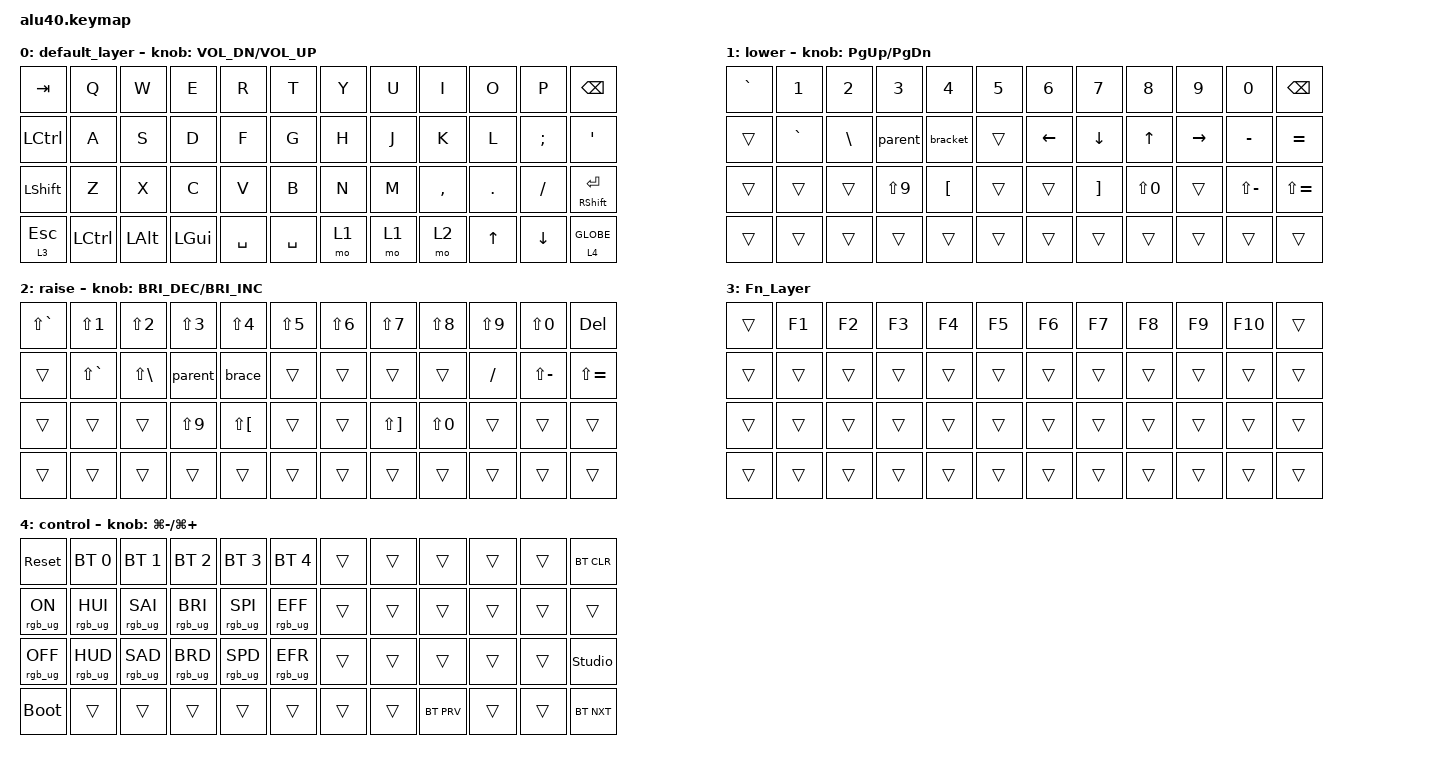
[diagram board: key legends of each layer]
/*
 * Copyright (c) 2022 The ZMK Contributors
 *
 * SPDX-License-Identifier: MIT
 */

#include <behaviors.dtsi>
#include <dt-bindings/zmk/bt.h>
#include <dt-bindings/zmk/keys.h>
#include <dt-bindings/zmk/rgb.h>

/ {
    macros {
        brace: brace {
            compatible = "zmk,behavior-macro";
            #binding-cells = <0>;
            bindings = <&kp LS(LEFT_BRACKET) &kp LS(RIGHT_BRACKET) &kp LEFT_ARROW>;
            label = "BRACE";
        };

        bracket: bracket {
            compatible = "zmk,behavior-macro";
            #binding-cells = <0>;
            bindings = <&kp LEFT_BRACKET &kp RIGHT_BRACKET &kp LEFT_ARROW>;
            label = "BRACKET";
        };

        parent: parent {
            compatible = "zmk,behavior-macro";
            #binding-cells = <0>;
            bindings = <&kp LS(N9) &kp LS(N0) &kp LEFT_ARROW>;
            label = "PARENT";
        };
    };

    keymap {
        compatible = "zmk,keymap";

        default_layer {
            // -----------------------------------------------------------------------------------------
            // | ESC/~ |  Q   |  W   |  E   |  R   |  T   |   Y   |  U    |  I   |  O   |   P   | BSPC  |
            // | TAB   |  A   |  S   |  D   |  F   |  G   |   H   |  J    |  K   |  L   |   ;   |  '    |
            // | SHIFT |  Z   |  X   |  C   |  V   |  B   |   N   |  M    |  ,   |  .   |   /   |RET/SFT|
            // | PLAY  | LCTL | LALT | LGUI | LOWR |     SPACE    |  RAIS | LARW | UARW | DARW  |  RARW |

            bindings = <
&kp TAB       &kp Q      &kp W     &kp E     &kp R      &kp T      &kp Y  &kp U  &kp I      &kp O    &kp P     &kp BSPC
&kp LCTRL     &kp A      &kp S     &kp D     &kp F      &kp G      &kp H  &kp J  &kp K      &kp L    &kp SEMI  &kp SQT
&kp LSHFT     &kp Z      &kp X     &kp C     &kp V      &kp B      &kp N  &kp M  &kp COMMA  &kp DOT  &kp FSLH  &mt RSHFT RET
&lt 3 ESCAPE  &kp LCTRL  &kp LALT  &kp LGUI  &kp SPACE  &kp SPACE  &mo 1  &mo 1  &mo 2      &kp UP   &kp DOWN  &lt 4 GLOBE
            >;

            sensor-bindings = <&inc_dec_kp C_VOL_DN C_VOL_UP>;
        };

        lower {
            bindings = <
&kp GRAVE  &kp N1     &kp N2         &kp N3      &kp N4            &kp N5  &kp N6    &kp N7             &kp N8      &kp N9     &kp N0         &kp BSPC
&trans     &kp GRAVE  &kp BACKSLASH  &parent     &bracket          &trans  &kp LEFT  &kp DOWN           &kp UP      &kp RIGHT  &kp MINUS      &kp EQUAL
&trans     &trans     &trans         &kp LS(N9)  &kp LEFT_BRACKET  &trans  &trans    &kp RIGHT_BRACKET  &kp LS(N0)  &trans     &kp LS(MINUS)  &kp LS(EQUAL)
&trans     &trans     &trans         &trans      &trans            &trans  &trans    &trans             &trans      &trans     &trans         &trans
            >;

            sensor-bindings = <&inc_dec_kp PG_UP PG_DN>;
        };

        raise {
            bindings = <
&kp LS(GRAVE)  &kp LS(N1)     &kp LS(N2)         &kp LS(N3)  &kp LS(N4)            &kp LS(N5)  &kp LS(N6)  &kp LS(N7)             &kp LS(N8)  &kp LS(N9)  &kp LS(N0)     &kp DEL
&trans         &kp LS(GRAVE)  &kp LS(BACKSLASH)  &parent     &brace                &trans      &trans      &trans                 &trans      &kp SLASH   &kp LS(MINUS)  &kp LS(EQUAL)
&trans         &trans         &trans             &kp LS(N9)  &kp LS(LEFT_BRACKET)  &trans      &trans      &kp LS(RIGHT_BRACKET)  &kp LS(N0)  &trans      &trans         &trans
&trans         &trans         &trans             &trans      &trans                &trans      &trans      &trans                 &trans      &trans      &trans         &trans
            >;

            sensor-bindings = <&inc_dec_kp C_BRI_DEC C_BRI_INC>;
        };

        Fn_Layer {
            bindings = <
&trans  &kp F1  &kp F2  &kp F3  &kp F4  &kp F5  &kp F6  &kp F7  &kp F8  &kp F9  &kp F10  &trans
&trans  &trans  &trans  &trans  &trans  &trans  &trans  &trans  &trans  &trans  &trans   &trans
&trans  &trans  &trans  &trans  &trans  &trans  &trans  &trans  &trans  &trans  &trans   &trans
&trans  &trans  &trans  &trans  &trans  &trans  &trans  &trans  &trans  &trans  &trans   &trans
            >;
        };

        control {
            bindings = <
&sys_reset       &bt BT_SEL 0     &bt BT_SEL 1     &bt BT_SEL 2     &bt BT_SEL 3     &bt BT_SEL 4     &trans  &trans  &trans      &trans  &trans  &bt BT_CLR
&rgb_ug RGB_ON   &rgb_ug RGB_HUI  &rgb_ug RGB_SAI  &rgb_ug RGB_BRI  &rgb_ug RGB_SPI  &rgb_ug RGB_EFF  &trans  &trans  &trans      &trans  &trans  &trans
&rgb_ug RGB_OFF  &rgb_ug RGB_HUD  &rgb_ug RGB_SAD  &rgb_ug RGB_BRD  &rgb_ug RGB_SPD  &rgb_ug RGB_EFR  &trans  &trans  &trans      &trans  &trans  &studio_unlock
&bootloader      &trans           &trans           &trans           &trans           &trans           &trans  &trans  &bt BT_PRV  &trans  &trans  &bt BT_NXT
            >;

            sensor-bindings = <&inc_dec_kp LG(MINUS) LG(PLUS)>;
        };

        extra1 { status = "reserved"; };

        extra2 { status = "reserved"; };

        extra3 { status = "reserved"; };

        extra4 { status = "reserved"; };
    };
};
